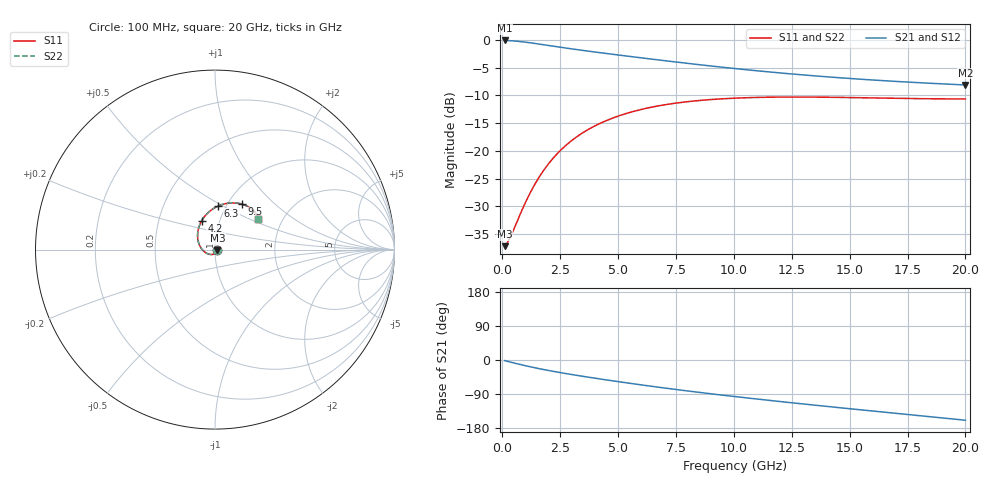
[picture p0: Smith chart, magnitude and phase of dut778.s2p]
! Touchstone file exported from HFSS 2024.1.0
!  File:  C:/UserFiles/LocalFiles/RDL_TSV_Batchsim/temp_RDL_TSV_778_1779904688.aedt
!  Generated:  02:15:14 AM May 28, 2026
!  Design:  RDL_TSV
!  Project:  temp_RDL_TSV_778_1779904688
!  Setup:  Setup1
!  Solution:  Sweep
! Variables:
!  dtsv = 10.86um
!  hbump = 3um
!  htsv = 95.73um
!  ldown = 132.79um
!  lrdl = 358.02um
!  p = 40
!  p1 = 52.46um
!  rhole = 10um
!  subl = 1830.45um
!  t = 450um
!  tdown = 2.69um
!  trdl = 2.4um
!  viad = 10um
!  wdown = 12.68um
!  wrdl = 24.44um
!  xbump = 18um
# GHz S MA R 50.000000
! Terminal data exported
! Port[1] = TM1_1_T1
! Port[2] = TM1_4_T1
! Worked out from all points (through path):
!   200 points, 100 MHz to 20 GHz, reference 50 ohm
!   highest |S21| = -0.12 dB at 100 MHz (marker M1); lowest = -8.1 dB at 20 GHz (marker M2)
!   group delay of S21, straight-line fit = 20.7 ps
!   lowest |S11| = -37.2 dB at 100 MHz (marker M3), VSWR 1.03, Z = 51.3 - j0.405 ohm
!   |S11| at or under -10 dB: start of sweep to end of sweep
!   |S22| runs from -37.2 to -10.3 dB; largest |S21 - S12| = 2.7e-14
!   S11 on the Smith chart (normalised r, x): 100 MHz: 1.03, -0.01; 4.2 GHz: 0.82, +0.27; 6.3 GHz: 0.92, +0.48; 9.5 GHz: 1.16, +0.64; 20 GHz: 1.51, +0.56
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0.1  0.01385 -16.6  0.9859 -1.6  0.9859 -1.6  0.01385 -16.5
! Gamma 0 0 0 0
! Port Impedance 50 0 50 0
0.3  0.01592 -48.1  0.9822 -4.8  0.9822 -4.8  0.01592 -48.1
0.7  0.02472 -98.8  0.9674 -10.8  0.9674 -10.8  0.02472 -98.9
1.2  0.04168 -141.7  0.9399 -17.8  0.9399 -17.8  0.04171 -141.8
1.5  0.05402 -160.5  0.9208 -21.7  0.9208 -21.7  0.05408 -160.6
1.8  0.06738 -176.0  0.9012 -25.4  0.9012 -25.4  0.06748 -176.1
2.2  0.08607 167.1  0.8754 -29.9  0.8754 -29.9  0.08624 167.0
2.6  0.1051 153.3  0.8508 -34.3  0.8508 -34.3  0.1053 153.2
3  0.1239 141.6  0.8277 -38.4  0.8277 -38.4  0.1242 141.6
3.5  0.1465 129.4  0.8007 -43.3  0.8007 -43.3  0.1469 129.3
4.2  0.1758 115.3  0.766 -49.9  0.766 -49.9  0.1763 115.2
5.2  0.212 99.4  0.7208 -58.8  0.7208 -58.8  0.2126 99.3
6.3  0.2436 85.7  0.6755 -68.2  0.6755 -68.2  0.2444 85.7
6.8  0.2553 80.4  0.6562 -72.3  0.6562 -72.3  0.2561 80.4
8.1  0.2785 68.9  0.6098 -82.4  0.6098 -82.4  0.2795 68.9
9.5  0.2941 59.3  0.5659 -92.7  0.5659 -92.7  0.2952 59.3
10.1  0.2983 55.8  0.549 -96.9  0.549 -96.9  0.2994 55.8
11.7  0.3043 48.2  0.5093 -107.7  0.5093 -107.7  0.3055 48.3
13.4  0.3047 42.4  0.4747 -118.6  0.4747 -118.6  0.3059 42.4
15  0.3019 38.6  0.4482 -128.6  0.4482 -128.6  0.3031 38.7
16.7  0.2978 36.2  0.4253 -139.0  0.4253 -139.0  0.299 36.2
20  0.2934 34.9  0.3918 -158.9  0.3918 -158.9  0.2946 34.9
